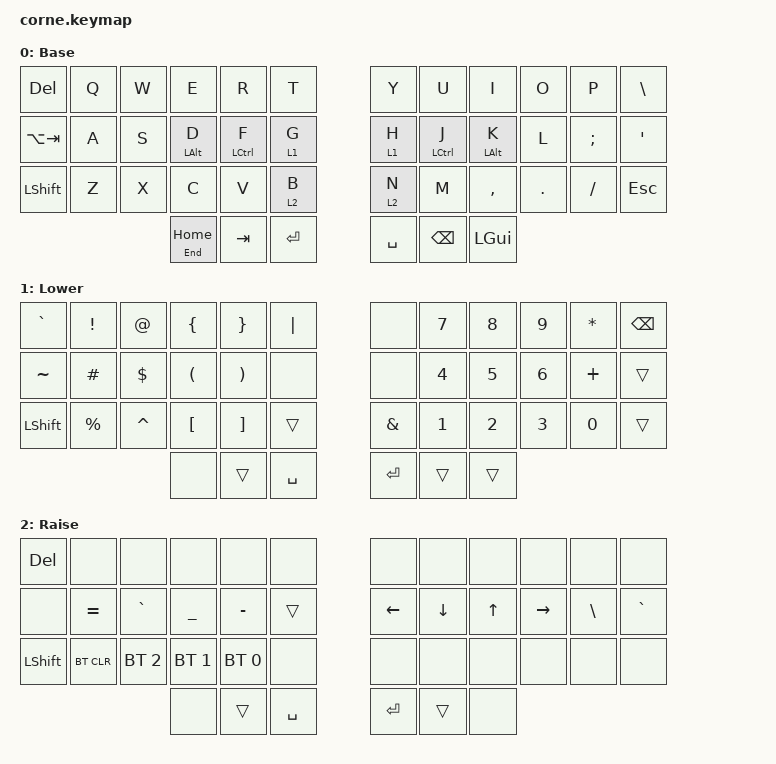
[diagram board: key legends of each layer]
/*
 * Copyright (c) 2020 The ZMK Contributors
 *
 * SPDX-License-Identifier: MIT
 */

#include <behaviors.dtsi>
#include <dt-bindings/zmk/bt.h>
#include <dt-bindings/zmk/keys.h>

&mt {
    tapping-term-ms = <400>;
};
/ {
    macros {
        switchtab: switchtab {
            compatible = "zmk,behavior-macro";
            #binding-cells = <0>;
            bindings = <&kp LA(TAB)>;
            label = "SWITCHTAB";
        };
    };
    keymap {
        compatible = "zmk,keymap";

        default_layer {
            // -----------------------------------------------------------------------------------------
            // |  TAB |  Q  |  W  |  E  |  R  |  T  |   |  Y  |  U   |  I  |  O  |  P  | BKSP |
            // | CTRL |  A  |  S  |  D  |  F  |  G  |   |  H  |  J   |  K  |  L  |  ;  |  '   |
            // | SHFT |  Z  |  X  |  C  |  V  |  B  |   |  N  |  M   |  ,  |  .  |  /  | ESC  |
            //                    | GUI | LWR | SPC |   | ENT | RSE  | ALT |

            display-name = "Base";
            bindings = <
&kp DEL      &kp Q  &kp W  &kp E           &kp R               &kp T        &kp Y      &kp U               &kp I           &kp O    &kp P     &kp BACKSLASH
&kp LA(TAB)  &kp A  &kp S  &mt LEFT_ALT D  &mt LEFT_CONTROL F  &lt 1 G      &lt 1 H    &mt LEFT_CONTROL J  &mt LEFT_ALT K  &kp L    &kp SEMI  &kp SQT
&kp LSHFT    &kp Z  &kp X  &kp C           &kp V               &lt 2 B      &lt 2 N    &kp M               &kp COMMA       &kp DOT  &kp FSLH  &kp ESC
                           &mt END HOME    &kp TAB             &kp ENTER    &kp SPACE  &kp BACKSPACE       &kp LGUI
            >;
        };

        lower_layer {
            // -----------------------------------------------------------------------------------------
            // |  TAB |  1  |  2  |  3  |  4  |  5  |   |  6  |  7  |  8  |  9  |  0  | BKSP |
            // | BTCLR| BT1 | BT2 | BT3 | BT4 | BT5 |   | LFT | DWN |  UP | RGT |     |      |
            // | SHFT |     |     |     |     |     |   |     |     |     |     |     |      |
            //                    | GUI |     | SPC |   | ENT |     | ALT |

            display-name = "Lower";
            bindings = <
&kp GRAVE  &kp EXCL     &kp AT_SIGN  &kp LEFT_BRACE        &kp RIGHT_BRACE        &kp PIPE     &none     &kp N7        &kp N8        &kp N9        &kp STAR      &kp BSPC
&kp TILDE  &kp HASH     &kp DOLLAR   &kp LEFT_PARENTHESIS  &kp RIGHT_PARENTHESIS  &none        &none     &kp NUMBER_4  &kp NUMBER_5  &kp NUMBER_6  &kp PLUS      &trans
&kp LSHFT  &kp PERCENT  &kp CARET    &kp LEFT_BRACKET      &kp RIGHT_BRACKET      &trans       &kp AMPS  &kp NUMBER_1  &kp NUMBER_2  &kp NUMBER_3  &kp NUMBER_0  &trans
                                     &none                 &trans                 &kp SPACE    &kp RET   &trans        &trans
            >;
        };

        raise_layer {
            // -----------------------------------------------------------------------------------------
            // |  TAB |  !  |  @  |  #  |  $  |  %  |   |  ^  |  &  |  *  |  (  |  )  | BKSP |
            // | CTRL |     |     |     |     |     |   |  -  |  =  |  [  |  ]  |  \  |  `   |
            // | SHFT |     |     |     |     |     |   |  _  |  +  |  {  |  }  | "|" |  ~   |
            //                    | GUI |     | SPC |   | ENT |     | ALT |

            display-name = "Raise";
            bindings = <
&kp DEL    &none       &none         &none         &none         &none        &none           &none     &none         &none      &none     &none
&none      &kp EQUAL   &kp GRAVE     &kp UNDER     &kp MINUS     &trans       &kp LEFT_ARROW  &kp DOWN  &kp UP_ARROW  &kp RIGHT  &kp BSLH  &kp GRAVE
&kp LSHFT  &bt BT_CLR  &bt BT_SEL 2  &bt BT_SEL 1  &bt BT_SEL 0  &none        &none           &none     &none         &none      &none     &none
                                     &none         &trans        &kp SPACE    &kp RET         &trans    &none
            >;
        };
    };
};
